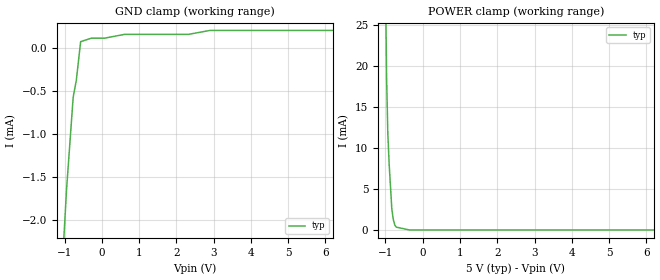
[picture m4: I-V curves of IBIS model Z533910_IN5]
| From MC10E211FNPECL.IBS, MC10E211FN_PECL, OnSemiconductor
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| (C) COPYRIGHT 1993-2000
| MENTOR GRAPHICS CORPORATION
| ICX STANDARD LIBRARY, ICX PROJECT MODELING,
| ICX CUSTOM MODELING, ICX VENDOR MODEL
| ALL RIGHTS RESERVED.
| THE FOLLOWING ARE TRADEMARKS OR SERVICE MARKS OF
| MENTOR GRAPHICS CORPORATION:ICX (R), ICX STANDARD
| LIBRARY(R), ICX PROJECT MODELING(R), ICX CUSTOM
| MODELING(R), qualityIBIS(TM), MODELVIEWER(TM),
| AND MODELEDITOR(TM)
| ALL COPIES OF SOFTWARE, INCLUDING BUT NOT LIMITED TO
| ANY MODIFICATIONS, ENHANCEMENTS OR DERIVATIVE WORKS,
| MUST CONTAIN ALL MENTOR GRAPHICS CORPORATION'S
| NOTICES AND LEGENDS, INCLUDING THOSE EMBEDDED IN
| SOFTWARE AND THOSE AFFIXED TO SOFTWARE MEDIUM
| AND CONTAINER, AS RECEIVED FROM MENTOR GRAPHICS
| CORPORATION.
| Model Application Version 1.89 2/18/99.
[Model] Z533910_IN5
Model_type Input_ECL
Vinl = 3.520V
Vinh = 3.830V
C_comp 4.000pF NA NA
| variable typ   min   max
[Voltage Range] 5.000V NA NA
[GND Clamp Reference] 0.000V NA NA
[POWER Clamp Reference] 5.000V NA NA
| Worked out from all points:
|   GND clamp passes 1 mA (typ) near -0.84 V on its own axis
|   POWER clamp passes 1 mA (typ) near -0.77 V on its own axis
[GND Clamp]
-5V       -15.76mA   NA         NA
-1.084V   -2.695mA   NA         NA
-947.3mV  -1.636mA   NA         NA
-771mV    -572.4uA   NA         NA
-686.8mV  -375.3uA   NA         NA
-571mV    74.99uA    NA         NA
-285.5mV  115.2uA    NA         NA
70.3mV    115.2uA    NA         NA
609.3mV   160.2uA    NA         NA
2.327V    160.2uA    NA         NA
2.9V      205.7uA    NA         NA
10V       205.7uA    NA         NA
[POWER Clamp]
-5V       1.421A     NA         NA
-1.065V   57.58mA    NA         NA
-970mV    18.69mA    NA         NA
-937mV    11.82mA    NA         NA
-901mV    8.064mA    NA         NA
-830mV    2.602mA    NA         NA
-791mV    1.298mA    NA         NA
-747mV    574.6uA    NA         NA
-709mV    342.6uA    NA         NA
-354.5mV  0A         NA         NA
10V       0A         NA         NA
